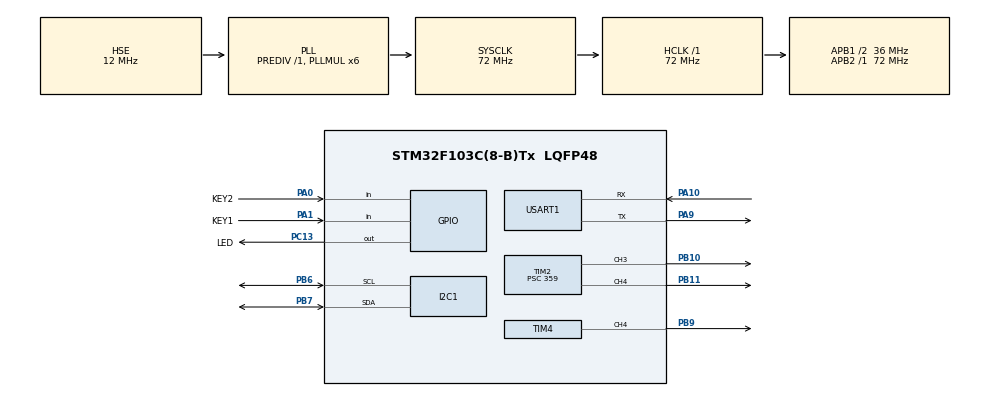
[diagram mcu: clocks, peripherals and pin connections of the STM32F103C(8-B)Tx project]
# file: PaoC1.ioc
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I2C1.I2C_Mode=I2C_Fast
Mcu.Family=STM32F1
Mcu.Name=STM32F103C(8-B)Tx
Mcu.Package=LQFP48
NVIC.PriorityGroup=NVIC_PRIORITYGROUP_4
NVIC.TIM3_IRQn=true\:0\:0\:false\:false\:true\:true\:true\:true
NVIC.USART1_IRQn=true\:0\:0\:false\:false\:true\:true\:true\:true
PA0-WKUP.GPIO_Label=KEY2
PA0-WKUP.GPIO_PuPd=GPIO_PULLDOWN
PA0-WKUP.Signal=GPIO_Input
PA1.GPIO_Label=KEY1
PA1.GPIO_PuPd=GPIO_PULLDOWN
PA1.Signal=GPIO_Input
PA10.Mode=Asynchronous
PA10.Signal=USART1_RX
PA13.Mode=Serial_Wire
PA13.Signal=SYS_JTMS-SWDIO
PA14.Mode=Serial_Wire
PA14.Signal=SYS_JTCK-SWCLK
PA9.Mode=Asynchronous
PA9.Signal=USART1_TX
PB10.Signal=S_TIM2_CH3
PB11.Signal=S_TIM2_CH4
PB6.Mode=I2C
PB6.Signal=I2C1_SCL
PB7.Mode=I2C
PB7.Signal=I2C1_SDA
PB9.Signal=S_TIM4_CH4
PC13-TAMPER-RTC.GPIO_Label=LED
PC13-TAMPER-RTC.GPIO_Speed=GPIO_SPEED_FREQ_LOW
PC13-TAMPER-RTC.PinState=GPIO_PIN_RESET
PC13-TAMPER-RTC.Signal=GPIO_Output
PC14-OSC32_IN.Mode=LSE-External-Oscillator
PC14-OSC32_IN.Signal=RCC_OSC32_IN
PC15-OSC32_OUT.Mode=LSE-External-Oscillator
PC15-OSC32_OUT.Signal=RCC_OSC32_OUT
PD0-OSC_IN.Mode=HSE-External-Oscillator
PD0-OSC_IN.Signal=RCC_OSC_IN
PD1-OSC_OUT.Mode=HSE-External-Oscillator
PD1-OSC_OUT.Signal=RCC_OSC_OUT
ProjectManager.HeapSize=0x200
ProjectManager.StackSize=0x400
ProjectManager.TargetToolchain=CMake
RCC.ADCPresc=RCC_ADCPCLK2_DIV6
RCC.AHBFreq_Value=72000000
RCC.APB1CLKDivider=RCC_HCLK_DIV2
RCC.APB1Freq_Value=36000000
RCC.APB1TimFreq_Value=72000000
RCC.APB2Freq_Value=72000000
RCC.APB2TimFreq_Value=72000000
RCC.HCLKFreq_Value=72000000
RCC.HSE_VALUE=12000000
RCC.PLLMUL=RCC_PLL_MUL6
RCC.PLLSourceVirtual=RCC_PLLSOURCE_HSE
RCC.RTCClockSelection=RCC_RTCCLKSOURCE_LSE
RCC.SYSCLKFreq_VALUE=72000000
RCC.SYSCLKSource=RCC_SYSCLKSOURCE_PLLCLK
RCC.USBFreq_Value=72000000
SH.S_TIM2_CH3.0=TIM2_CH3,PWM Generation3 CH3
SH.S_TIM2_CH4.0=TIM2_CH4,PWM Generation4 CH4
SH.S_TIM4_CH4.0=TIM4_CH4,PWM Generation4 CH4
TIM2.AutoReloadPreload=TIM_AUTORELOAD_PRELOAD_ENABLE
TIM2.Channel-PWM\ Generation3\ CH3=TIM_CHANNEL_3
TIM2.Channel-PWM\ Generation4\ CH4=TIM_CHANNEL_4
TIM2.OCFastMode_PWM-PWM\ Generation3\ CH3=TIM_OCFAST_ENABLE
TIM2.OCFastMode_PWM-PWM\ Generation4\ CH4=TIM_OCFAST_ENABLE
TIM2.Period=999
TIM2.Prescaler=359
TIM3.AutoReloadPreload=TIM_AUTORELOAD_PRELOAD_ENABLE
TIM3.Period=999
TIM3.Prescaler=71
TIM4.AutoReloadPreload=TIM_AUTORELOAD_PRELOAD_ENABLE
TIM4.Channel-PWM\ Generation4\ CH4=TIM_CHANNEL_4
TIM4.Period=65535
TIM4.Prescaler=0
USART1.VirtualMode=VM_ASYNC
VP_TIM3_VS_ClockSourceINT.Mode=Internal
board=custom

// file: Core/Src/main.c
/* USER CODE BEGIN Header */
/**
  ******************************************************************************
  * @file           : main.c
  * @brief          : Main program body
  ******************************************************************************
  * @attention
  *
  * Copyright (c) 2026 STMicroelectronics.
  * All rights reserved.
  *
  * This software is licensed under terms that can be found in the LICENSE file
  * in the root directory of this software component.
  * If no LICENSE file comes with this software, it is provided AS-IS.
  *
  ******************************************************************************
  */
/* USER CODE END Header */
#include "main.h"
#include "i2c.h"
#include "tim.h"
#include "usart.h"
#include "gpio.h"

/* USER CODE BEGIN Includes */
// 头文件

#include <stdio.h>
#include <string.h>
#include "printf.h"
#include <math.h>

/* USER CODE END Includes */

/* USER CODE BEGIN PTD */
// 类型定义

/* USER CODE END PTD */

/* USER CODE BEGIN PD */
// 宏常量

/* ===== 平衡跷跷板 PID 控制参数 ===== */
/* 通道A = TIM2_CH3 (使能使 Roll 减小), 通道B = TIM2_CH4 (使能使 Roll 增大)
 * 目标: 维持 Roll = 0 (水平)
 * 控制周期: TIM3 每 1ms 中断, 分频 5 次 => 每 5ms 计算一次 PID
 * PWM: TIM2 ARR = 999, 占空比范围 0~999 (即 0~100%)
 */
#define BAL_TARGET_ROLL   0.0f      /* 目标 Roll (度) */
#define BAL_PID_DT_MS     5.0f      /* PID 采样周期 (ms) */
#define BAL_PID_TICK_DIV  5U        /* TIM3 1ms 中断分频, 5 次 = 5ms */
#define BAL_PWM_PERIOD    999.0f    /* TIM2 自动重装值 (占空比满量程) */

/* 风扇最小转速: 两个风扇均保持此基础占空比, 消除风扇启动死区,
 * 使系统能够快速双向响应 (默认 20%). PID 在此基础上做差动调节. */
#define BAL_FAN_MIN       5.0f     /* 最小转速 (%) */
#define BAL_FAN_MAX       100.0f    /* 最大转速 (%) */

/* 默认 PID 参数 (可通过 shell 的 kp/ki/kd 指令在线调整) */
#define BAL_DEFAULT_KP    0.2f
#define BAL_DEFAULT_KI    0.0002f
#define BAL_DEFAULT_KD    300.0f

/* USER CODE END PD */

/* USER CODE BEGIN PM */
// 函数宏

/* USER CODE END PM */

/* USER CODE BEGIN PV */
// 全局变量

/* USER CODE END PV */

void SystemClock_Config(void);
/* USER CODE BEGIN PFP */
// 函数原型

/* USER CODE END PFP */

/* USER CODE BEGIN 0 */
// 预处理

#include "function.h"
#include "uart_gpio_indicator.h"
#include "u8g2.h"
#include "u8g2_stm32.h"
#include "shell.h"
#include "shell_port.h"
#include "mpu6050.h"                    // 精简可移植 MPU6050 库
#include "pid.h"                        // 通用 PID 控制器库

#define TX_BUFFER_SIZE 32
#define RX_BUFFER_SIZE 64

volatile uint32_t trigger = 0;

uint8_t tx_buffer[TX_BUFFER_SIZE];
uint8_t rx_buffer[RX_BUFFER_SIZE];

volatile uint32_t adc_dma_buffer;

int8_t recv_buf = 0;

u8g2_t u8g2;
char oled[32];

// MPU6050全局数据
static mpu6050_t imu;
static float g_quat[4] = {1.0f, 0.0f, 0.0f, 0.0f}; /* 四元数 w,x,y,z */
static float g_pitch = 0.0f;
static float g_roll = 0.0f;
static float g_yaw = 0.0f;
static float g_acc[3] = {0}; /* X Y Z 加速度 (g) */
static float g_dps[3] = {0}; /* X Y Z 角速度 (dps) */
static uint32_t g_last_tick = 0;

// 定时器中断
void HAL_TIM_PeriodElapsedCallback(TIM_HandleTypeDef* htim)
{
    if (htim->Instance == TIM3)
    {
        trigger++;

    }
}

// TX回调
void HAL_UART_TxCpltCallback(UART_HandleTypeDef* huart)
{
    if (huart->Instance == USART1)
    {
    }
}

void HAL_UART_RxCpltCallback(UART_HandleTypeDef* huart)
{
    /* 判断是哪个串口触发的中断 */
    if (huart->Instance == USART1)
    {
        //调用shell处理数据的接口
        shellHandler(&shell, recv_buf);
        //使能串口中断接收
        HAL_UART_Receive_IT(&huart1, (uint8_t*)&recv_buf, 1);
    }
}

/* USER CODE END 0 */

int main(void)
{

  /* USER CODE BEGIN 1 */
    // 极早期初始化

  /* USER CODE END 1 */

  /* MCU Configuration--------------------------------------------------------*/

  /* Reset of all peripherals, Initializes the Flash interface and the Systick. */
  HAL_Init();

  /* USER CODE BEGIN Init */
    // 外设初始化

  /* USER CODE END Init */

  /* Configure the system clock */
  SystemClock_Config();

  /* USER CODE BEGIN SysInit */
    // 系统初始化

  /* USER CODE END SysInit */

  /* Initialize all configured peripherals */
  MX_GPIO_Init();
  MX_USART1_UART_Init();
  MX_TIM2_Init();
  MX_I2C1_Init();
  MX_TIM4_Init();
  MX_TIM3_Init();
  /* USER CODE BEGIN 2 */
    // 应用初始化

    // UART接收中断
    HAL_UART_Receive_IT(&huart1, (uint8_t*)&recv_buf, 1);
    // Shell
    userShellInit();
    // u8g2
    u8g2Init(&u8g2);

    // MPU6050
    mpu6050_init(&imu, MPU6050_ACCEL_2G, MPU6050_GYRO_2000DPS);
    // printf("[MPU6050] 校准零偏 保持静止\n");
    // mpu6050_calibrate_gyro(&imu, 1000);
    // printf("[MPU6050] 校准完成\nbias = %+.3f, %+.3f, %+.3f dps\n", imu.gyro_bias[0], imu.gyro_bias[1], imu.gyro_bias[2]);

    HAL_TIM_Base_Start_IT(&htim3);

    g_last_tick = HAL_GetTick();

  /* USER CODE END 2 */

  /* Infinite loop */
    while (1)
    {

    /* USER CODE BEGIN 3 */
        // 用户代码 ===================================================

        // if (trigger >= 500)
        // {
        //     uint8_t len = sprintf((char*)tx_buffer, "咕咕嘎嘎\n");
        //     HAL_UART_Transmit(&huart1, tx_buffer, len, HAL_MAX_DELAY);
        //
        //     trigger = 0;
        // }

        float dt;
        uint32_t now = HAL_GetTick();

        dt = (float)(now - g_last_tick) / 1000.0f;
        g_last_tick = now;
        if (dt > 0.5f || dt <= 0.0f) dt = 0.01f;

        /* 新库内部完成: 读取传感器 -> 扣除零偏 -> Mahony 融合更新四元数 */
        if (mpu6050_update(&imu, dt) == 0)
        {
            /* 由四元数解算欧拉角 (单位: 度) */
            mpu6050_get_euler(&imu, &g_roll, &g_pitch, &g_yaw);
            /* 获取四元数 w,x,y,z */
            mpu6050_get_quaternion(&imu, g_quat);
            /* 同步读取原始加速度/角速度供屏幕使用 (可选) */
            mpu6050_read(&imu, g_acc, g_dps);
        }

        u8g2_FirstPage(&u8g2);
        do
        {
            u8g2_SetFontMode(&u8g2, 1);
            u8g2_SetFontDirection(&u8g2, 0);
            u8g2_SetFont(&u8g2, u8g2_font_t0_16_mr);
            snprintf(oled, sizeof(oled), "P%7.02f", g_pitch);
            u8g2_DrawStr(&u8g2, 0, 10, oled);
            snprintf(oled, sizeof(oled), "R%7.02f", g_roll);
            u8g2_DrawStr(&u8g2, 0, 23, oled);
            snprintf(oled, sizeof(oled), "Y%7.02f", g_yaw);
            u8g2_DrawStr(&u8g2, 0, 36, oled);
            u8g2_SetFont(&u8g2, u8g2_font_5x7_mr);
            snprintf(oled, sizeof(oled), "%+.2f%+.2f%+.2f%+.2f", g_quat[0], g_quat[1], g_quat[2], g_quat[3]);
            u8g2_DrawStr(&u8g2, 0, 49, oled);
        }
        while (u8g2_NextPage(&u8g2));

        // UART_GPIO_Indicator(&huart1, LED2_GPIO_Port, LED2_Pin, 0, 0);

        // 用户代码 ===================================================
    }
  /* USER CODE END 3 */
}

void SystemClock_Config(void)
{
  RCC_OscInitTypeDef RCC_OscInitStruct = {0};
  RCC_ClkInitTypeDef RCC_ClkInitStruct = {0};

  /** Initializes the RCC Oscillators according to the specified parameters
  * in the RCC_OscInitTypeDef structure.
  */
  RCC_OscInitStruct.OscillatorType = RCC_OSCILLATORTYPE_HSE;
  RCC_OscInitStruct.HSEState = RCC_HSE_ON;
  RCC_OscInitStruct.HSEPredivValue = RCC_HSE_PREDIV_DIV1;
  RCC_OscInitStruct.HSIState = RCC_HSI_ON;
  RCC_OscInitStruct.PLL.PLLState = RCC_PLL_ON;
  RCC_OscInitStruct.PLL.PLLSource = RCC_PLLSOURCE_HSE;
  RCC_OscInitStruct.PLL.PLLMUL = RCC_PLL_MUL6;
  if (HAL_RCC_OscConfig(&RCC_OscInitStruct) != HAL_OK)
  {
    Error_Handler();
  }

  /** Initializes the CPU, AHB and APB buses clocks
  */
  RCC_ClkInitStruct.ClockType = RCC_CLOCKTYPE_HCLK|RCC_CLOCKTYPE_SYSCLK
                              |RCC_CLOCKTYPE_PCLK1|RCC_CLOCKTYPE_PCLK2;
  RCC_ClkInitStruct.SYSCLKSource = RCC_SYSCLKSOURCE_PLLCLK;
  RCC_ClkInitStruct.AHBCLKDivider = RCC_SYSCLK_DIV1;
  RCC_ClkInitStruct.APB1CLKDivider = RCC_HCLK_DIV2;
  RCC_ClkInitStruct.APB2CLKDivider = RCC_HCLK_DIV1;

  if (HAL_RCC_ClockConfig(&RCC_ClkInitStruct, FLASH_LATENCY_2) != HAL_OK)
  {
    Error_Handler();
  }
}

/* USER CODE BEGIN 4 */
// 用户函数区

/* USER CODE END 4 */

void Error_Handler(void)
{
    __disable_irq();
    while (1)
    {
    }
}
